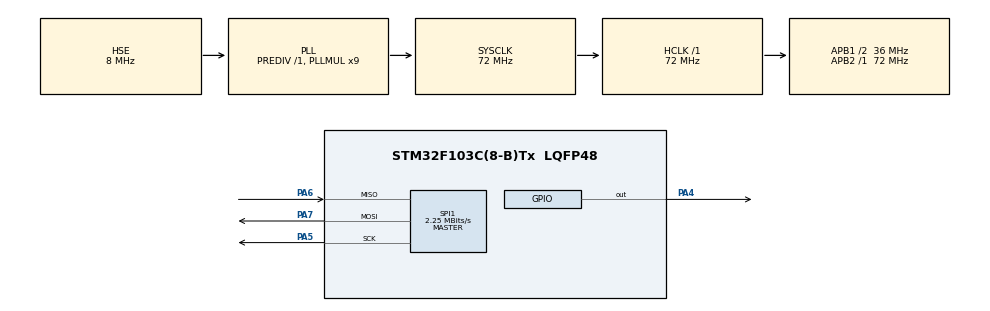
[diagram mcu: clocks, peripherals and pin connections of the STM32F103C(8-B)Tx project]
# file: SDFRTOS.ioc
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FREERTOS.Tasks01=defaultTask,0,128,StartDefaultTask,Default,NULL,Dynamic,NULL,NULL
Mcu.Family=STM32F1
Mcu.Name=STM32F103C(8-B)Tx
Mcu.Package=LQFP48
NVIC.PriorityGroup=NVIC_PRIORITYGROUP_4
NVIC.TIM4_IRQn=true\:15\:0\:false\:false\:true\:false\:false\:true\:true
NVIC.TimeBase=TIM4_IRQn
NVIC.TimeBaseIP=TIM4
PA13.Mode=Serial_Wire
PA13.Signal=SYS_JTMS-SWDIO
PA14.Mode=Serial_Wire
PA14.Signal=SYS_JTCK-SWCLK
PA4.Signal=GPIO_Output
PA5.Mode=Full_Duplex_Master
PA5.Signal=SPI1_SCK
PA6.Mode=Full_Duplex_Master
PA6.Signal=SPI1_MISO
PA7.Mode=Full_Duplex_Master
PA7.Signal=SPI1_MOSI
PD0-OSC_IN.Mode=HSE-External-Oscillator
PD0-OSC_IN.Signal=RCC_OSC_IN
PD1-OSC_OUT.Mode=HSE-External-Oscillator
PD1-OSC_OUT.Signal=RCC_OSC_OUT
ProjectManager.HeapSize=0x200
ProjectManager.StackSize=0x400
ProjectManager.TargetToolchain=STM32CubeIDE
RCC.AHBFreq_Value=72000000
RCC.APB1CLKDivider=RCC_HCLK_DIV2
RCC.APB1Freq_Value=36000000
RCC.APB1TimFreq_Value=72000000
RCC.APB2Freq_Value=72000000
RCC.APB2TimFreq_Value=72000000
RCC.HCLKFreq_Value=72000000
RCC.PLLMUL=RCC_PLL_MUL9
RCC.PLLSourceVirtual=RCC_PLLSOURCE_HSE
RCC.SYSCLKFreq_VALUE=72000000
RCC.SYSCLKSource=RCC_SYSCLKSOURCE_PLLCLK
RCC.USBFreq_Value=72000000
SPI1.BaudRatePrescaler=SPI_BAUDRATEPRESCALER_32
SPI1.CalculateBaudRate=2.25 MBits/s
SPI1.Direction=SPI_DIRECTION_2LINES
SPI1.Mode=SPI_MODE_MASTER
SPI1.VirtualType=VM_MASTER
VP_FATFS_VS_Generic.Mode=User_defined
VP_FREERTOS_VS_CMSIS_V1.Mode=CMSIS_V1
VP_SYS_VS_tim4.Mode=TIM4
board=custom

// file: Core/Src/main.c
/* USER CODE BEGIN Header */
/**
  ******************************************************************************
  * @file           : main.c
  * @brief          : Main program body
  ******************************************************************************
  * @attention
  *
  * Copyright (c) 2022 STMicroelectronics.
  * All rights reserved.
  *
  * This software is licensed under terms that can be found in the LICENSE file
  * in the root directory of this software component.
  * If no LICENSE file comes with this software, it is provided AS-IS.
  *
  ******************************************************************************
  */
/* USER CODE END Header */
#include "main.h"
//#include "cmsis_os.h"
#include "fatfs.h"

/* USER CODE BEGIN Includes */
#include "FreeRTOS.h"
#include "task.h"
#include "timers.h"
#include "queue.h"
#include "semphr.h"
#include "event_groups.h"

#include "fatfs.h"
/* USER CODE END Includes */

SPI_HandleTypeDef hspi1;

//osThreadId defaultTaskHandle;

void SystemClock_Config(void);
static void MX_GPIO_Init(void);
static void MX_SPI1_Init(void);
//void StartDefaultTask(void const * argument);

/* USER CODE BEGIN 0 */

uint8_t escribir = 1;
FIL fil;
FATFS fs;
char buffer_SD[3];
char escritura_SD[3];
uint8_t lectura_SD;

void Escritura_SD(void *arg)
{
	while(1)
	{
		if(escribir)
		{
			escribir = 0;
			if(f_mount(&fs, "", 0)) lectura_SD = 0; // Si no se monta la SD pedir que se reinicie el sistema

			if(f_open(&fil, "Sensores.txt", FA_OPEN_ALWAYS | FA_WRITE | FA_READ)) lectura_SD = 0; // Da error si no hay tarjeta, pantalla error SD

			f_gets(buffer_SD, 4, &fil);

			if(f_truncate(&fil)) lectura_SD = 0;  // Si se desconecto la tarjeta o hay error, mandar a ventana error SD

			if(f_lseek(&fil, 0)) lectura_SD = 0;  // Si se desconecto la tarjeta o hay error, mandar a ventana error SD

			escritura_SD[0] = 117;
			escritura_SD[1] = 119;
			escritura_SD[2] = 117;
			f_puts(escritura_SD, &fil);
			if(f_close(&fil)) lectura_SD = 0;  // Si se desconecto la tarjeta o hay error, mandar a ventana error SD}*/
			f_mount(NULL, "", 0); //Desmonto la SD
		}
	}
	/*uint32_t i = 0;
	while(1)
	{
		if(i<1000) i++;
		else i = 0;
	}*/

	vTaskDelete(NULL);
}

/* USER CODE END 0 */

int main(void)
{

  /* MCU Configuration--------------------------------------------------------*/

  /* Reset of all peripherals, Initializes the Flash interface and the Systick. */
  HAL_Init();

  /* Configure the system clock */
  SystemClock_Config();

  /* Initialize all configured peripherals */
  MX_GPIO_Init();
  MX_SPI1_Init();
  MX_FATFS_Init();
  /* USER CODE BEGIN 2 */
  HAL_Delay(500);

  //vTaskStartScheduler();
  /* USER CODE END 2 */

  /* Create the thread(s) */
  /* definition and creation of defaultTask */
  //osThreadDef(defaultTask, StartDefaultTask, osPriorityNormal, 0, 128);
  //defaultTaskHandle = osThreadCreate(osThread(defaultTask), NULL);

  /* USER CODE BEGIN RTOS_THREADS */
  xTaskCreate(Escritura_SD,"Escritura_SD", 128, NULL, 2, NULL);
  /* USER CODE END RTOS_THREADS */

  /* Start scheduler */
  //osKernelStart();
  vTaskStartScheduler();

  /* We should never get here as control is now taken by the scheduler */
  /* Infinite loop */
  while (1)
  {

  }
}

void SystemClock_Config(void)
{
  RCC_OscInitTypeDef RCC_OscInitStruct = {0};
  RCC_ClkInitTypeDef RCC_ClkInitStruct = {0};

  /** Initializes the RCC Oscillators according to the specified parameters
  * in the RCC_OscInitTypeDef structure.
  */
  RCC_OscInitStruct.OscillatorType = RCC_OSCILLATORTYPE_HSE;
  RCC_OscInitStruct.HSEState = RCC_HSE_ON;
  RCC_OscInitStruct.HSEPredivValue = RCC_HSE_PREDIV_DIV1;
  RCC_OscInitStruct.HSIState = RCC_HSI_ON;
  RCC_OscInitStruct.PLL.PLLState = RCC_PLL_ON;
  RCC_OscInitStruct.PLL.PLLSource = RCC_PLLSOURCE_HSE;
  RCC_OscInitStruct.PLL.PLLMUL = RCC_PLL_MUL9;
  if (HAL_RCC_OscConfig(&RCC_OscInitStruct) != HAL_OK)
  {
    Error_Handler();
  }

  /** Initializes the CPU, AHB and APB buses clocks
  */
  RCC_ClkInitStruct.ClockType = RCC_CLOCKTYPE_HCLK|RCC_CLOCKTYPE_SYSCLK
                              |RCC_CLOCKTYPE_PCLK1|RCC_CLOCKTYPE_PCLK2;
  RCC_ClkInitStruct.SYSCLKSource = RCC_SYSCLKSOURCE_PLLCLK;
  RCC_ClkInitStruct.AHBCLKDivider = RCC_SYSCLK_DIV1;
  RCC_ClkInitStruct.APB1CLKDivider = RCC_HCLK_DIV2;
  RCC_ClkInitStruct.APB2CLKDivider = RCC_HCLK_DIV1;

  if (HAL_RCC_ClockConfig(&RCC_ClkInitStruct, FLASH_LATENCY_2) != HAL_OK)
  {
    Error_Handler();
  }
}

static void MX_SPI1_Init(void)
{

  /* SPI1 parameter configuration*/
  hspi1.Instance = SPI1;
  hspi1.Init.Mode = SPI_MODE_MASTER;
  hspi1.Init.Direction = SPI_DIRECTION_2LINES;
  hspi1.Init.DataSize = SPI_DATASIZE_8BIT;
  hspi1.Init.CLKPolarity = SPI_POLARITY_LOW;
  hspi1.Init.CLKPhase = SPI_PHASE_1EDGE;
  hspi1.Init.NSS = SPI_NSS_SOFT;
  hspi1.Init.BaudRatePrescaler = SPI_BAUDRATEPRESCALER_32;
  hspi1.Init.FirstBit = SPI_FIRSTBIT_MSB;
  hspi1.Init.TIMode = SPI_TIMODE_DISABLE;
  hspi1.Init.CRCCalculation = SPI_CRCCALCULATION_DISABLE;
  hspi1.Init.CRCPolynomial = 10;
  if (HAL_SPI_Init(&hspi1) != HAL_OK)
  {
    Error_Handler();
  }

}

static void MX_GPIO_Init(void)
{
  GPIO_InitTypeDef GPIO_InitStruct = {0};

  /* GPIO Ports Clock Enable */
  __HAL_RCC_GPIOD_CLK_ENABLE();
  __HAL_RCC_GPIOA_CLK_ENABLE();

  /*Configure GPIO pin Output Level */
  HAL_GPIO_WritePin(GPIOA, GPIO_PIN_4, GPIO_PIN_RESET);

  /*Configure GPIO pin : PA4 */
  GPIO_InitStruct.Pin = GPIO_PIN_4;
  GPIO_InitStruct.Mode = GPIO_MODE_OUTPUT_PP;
  GPIO_InitStruct.Pull = GPIO_NOPULL;
  GPIO_InitStruct.Speed = GPIO_SPEED_FREQ_LOW;
  HAL_GPIO_Init(GPIOA, &GPIO_InitStruct);

}

void HAL_TIM_PeriodElapsedCallback(TIM_HandleTypeDef *htim)
{
  if (htim->Instance == TIM4) {
    HAL_IncTick();
  }
}

void Error_Handler(void)
{
  __disable_irq();
  while (1)
  {
  }
}
